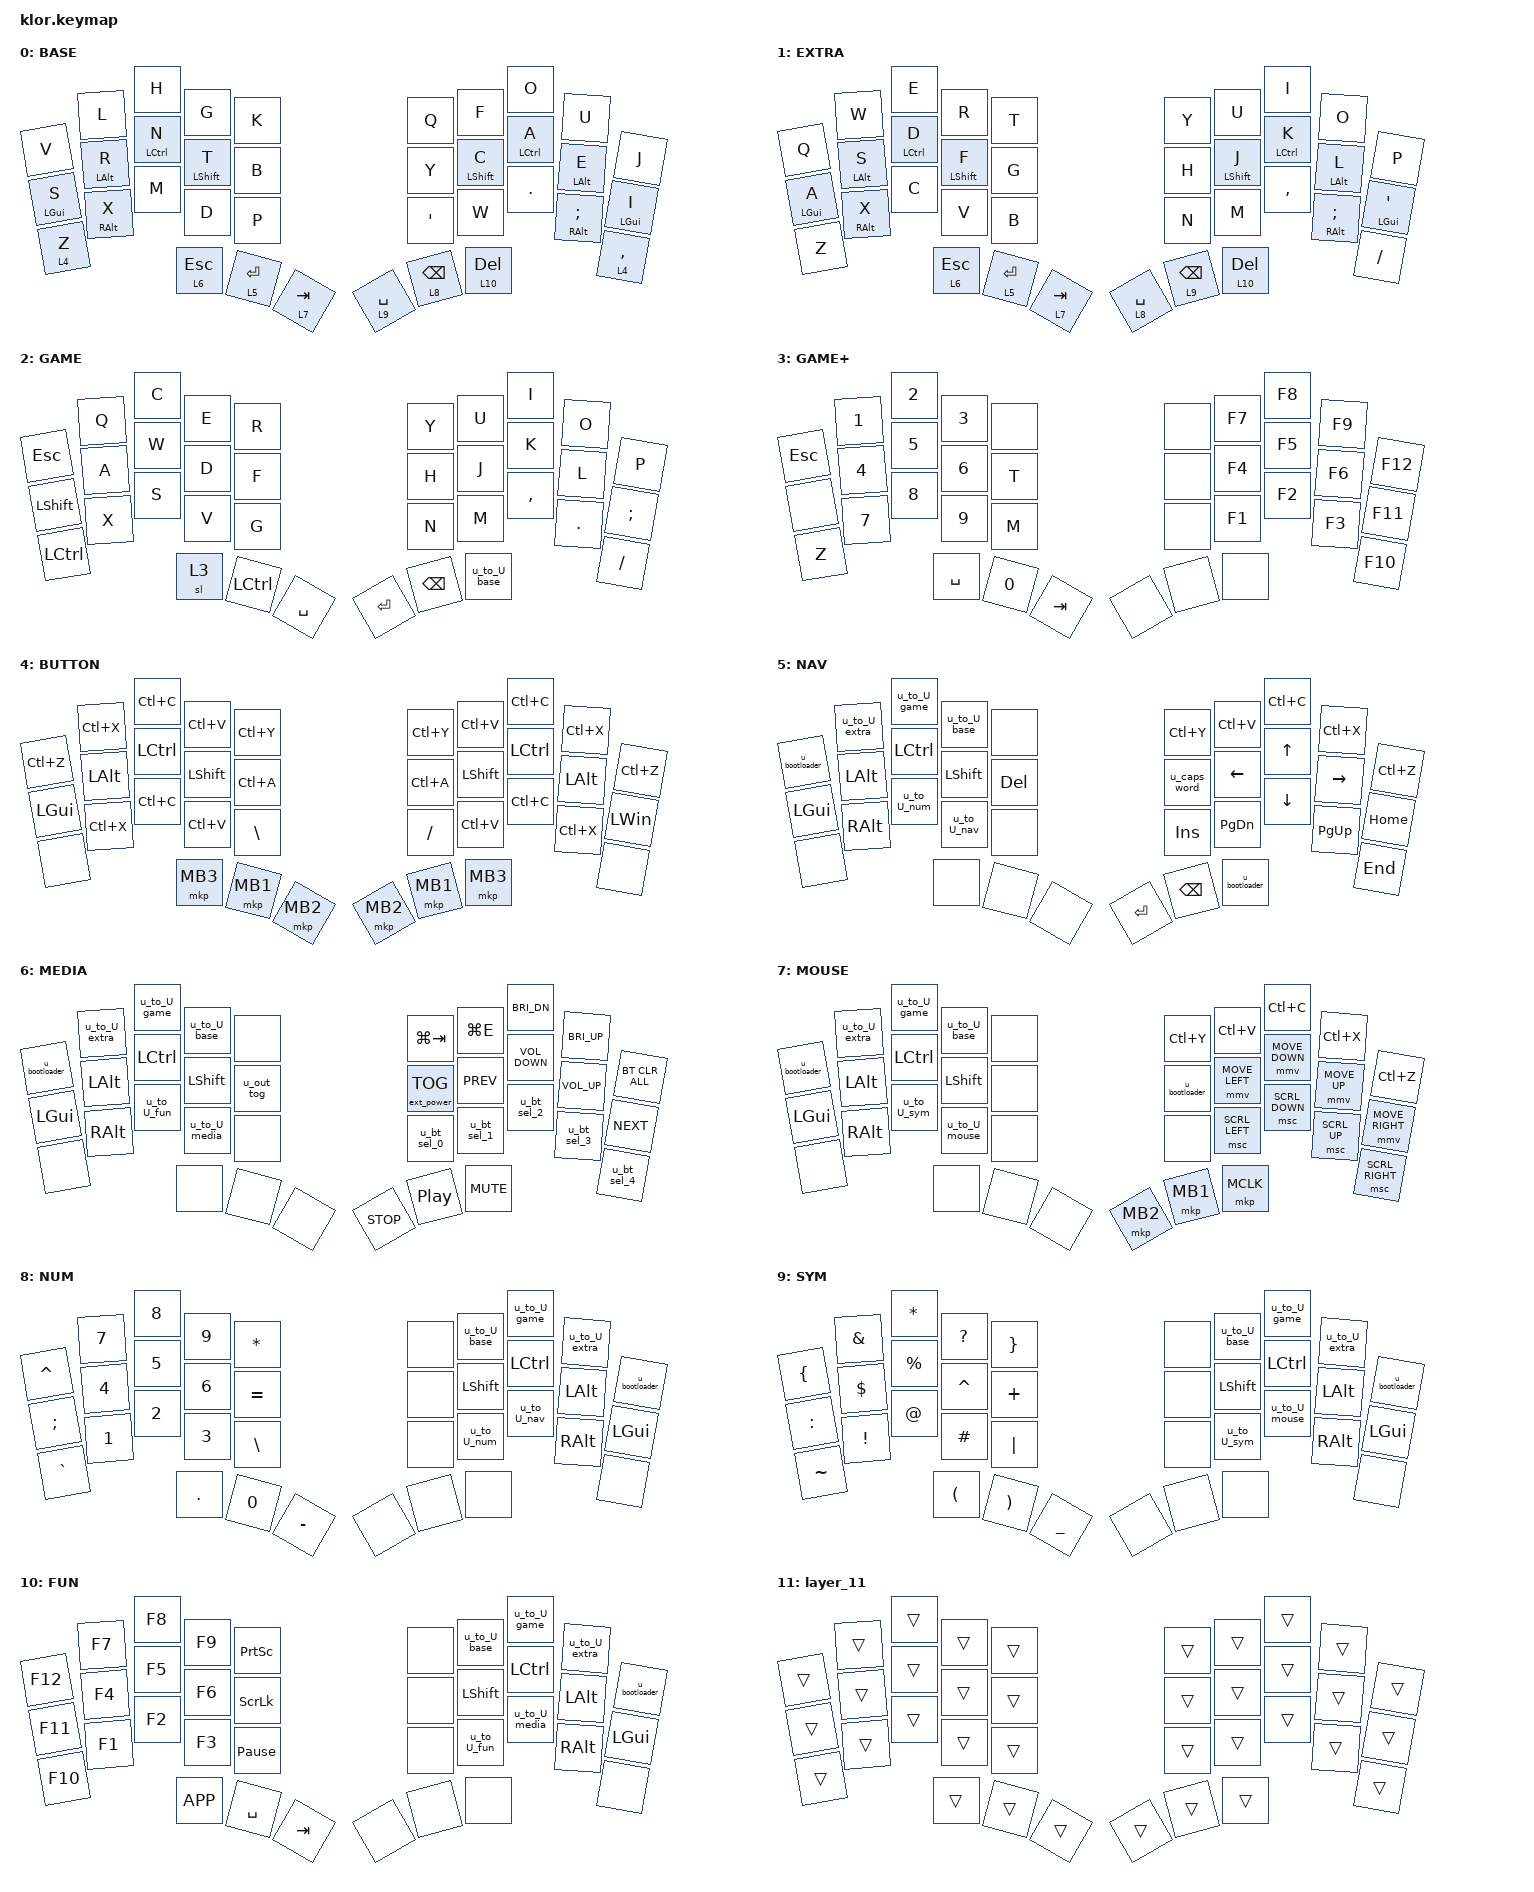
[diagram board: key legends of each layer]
//                               █         █    █            ▄▄▄▀▀▀▀▀▀▄▄▄        █▀▀▀▀▀▀▀▀▀▀█
//                               █        █     █          ▄▀            ▀▄      █          █
//                               █       █      █        ▄▀                ▀▄    █          █
//                               █      █       █        █                  █    █          █
//                               █     █        █       █                    █   █          █
//                               █    █         █       █                    █   █▄▄▄▄▄▄▄▄▄▄█
//                               █   █ █        █       █                    █   █      █
//                               █  █   █       █        █                  █    █       █
//                               █ █     █      █        ▀▄                ▄▀    █        █
//                               ██       █     █          ▀▄            ▄▀      █         █
//                               █         █    █▄▄▄▄▄▄▄▄    ▀▀▀▄▄▄▄▄▄▀▀▀        █          █
//
// ▄▄▄▄▄▄▄▄▄▄▄▄▄▄▄▄▄▄▄▄▄▄▄▄▄▄▄▄▄▄▄▄▄▄▄▄▄▄▄▄▄▄▄▄▄▄▄▄▄▄▄▄▄▄▄▄▄▄▄▄▄▄▄▄▄▄▄▄▄▄▄▄▄▄▄▄▄▄▄▄▄▄▄▄▄▄▄▄▄▄▄▄▄▄▄▄▄▄▄▄▄▄▄▄▄▄▄▄▄▄▄▄▄▄▄▄▄▄▄▄▄▄▄▄▄

#include <behaviors.dtsi>
#include <dt-bindings/zmk/bt.h>
#include <dt-bindings/zmk/ext_power.h>
#include <dt-bindings/zmk/keys.h>
#include <dt-bindings/zmk/outputs.h>
#include <dt-bindings/zmk/pointing.h>

&mmv {
    delay-ms = <0>;
    time-to-max-speed-ms = <1500>;
    acceleration-exponent = <1>;
};

/ {
    behaviors {
        u_to_U_base: u_to_U_base {
            compatible = "zmk,behavior-tap-dance";
            label = "U_TO_U_BASE";
            #binding-cells = <0>;
            bindings = <&none>, <&to 0>;
        };

        u_to_U_game: u_to_U_game {
            compatible = "zmk,behavior-tap-dance";
            label = "U_TO_U_GAME";
            #binding-cells = <0>;
            bindings = <&none>, <&to 2>;
        };

        u_to_U_nav: u_to_U_nav {
            compatible = "zmk,behavior-tap-dance";
            label = "U_TO_U_NAV";
            #binding-cells = <0>;
            bindings = <&none>, <&to 5>;
        };

        u_to_U_num: u_to_U_num {
            compatible = "zmk,behavior-tap-dance";
            label = "U_TO_U_NUM";
            #binding-cells = <0>;
            bindings = <&none>, <&to 8>;
        };

        u_to_U_media: u_to_U_media {
            compatible = "zmk,behavior-tap-dance";
            label = "U_TO_U_MEDIA";
            #binding-cells = <0>;
            bindings = <&none>, <&to 6>;
        };

        u_to_U_fun: u_to_U_fun {
            compatible = "zmk,behavior-tap-dance";
            label = "U_TO_U_FUN";
            #binding-cells = <0>;
            bindings = <&none>, <&to 10>;
        };

        u_to_U_mouse: u_to_U_mouse {
            compatible = "zmk,behavior-tap-dance";
            label = "U_TO_U_MOUSE";
            #binding-cells = <0>;
            bindings = <&none>, <&to 7>;
        };

        u_to_U_sym: u_to_U_sym {
            compatible = "zmk,behavior-tap-dance";
            label = "U_TO_U_SYM";
            #binding-cells = <0>;
            bindings = <&none>, <&to 9>;
        };

        u_bootloader: u_bootloader {
            compatible = "zmk,behavior-tap-dance";
            label = "U_BOOTLOADER";
            #binding-cells = <0>;
            bindings = <&none>, <&bootloader>;
        };

        u_bt_sel_0: u_bt_sel_0 {
            compatible = "zmk,behavior-mod-morph";
            label = "U_BT_SEL_0";
            bindings = <&bt BT_SEL 0>, <&u_macro_u_bt_sel_0>;

            #binding-cells = <0>;
            mods = <(MOD_LSFT|MOD_RSFT)>;
        };

        u_bt_sel_1: u_bt_sel_1 {
            compatible = "zmk,behavior-mod-morph";
            label = "U_BT_SEL_1";
            bindings = <&bt BT_SEL 1>, <&u_macro_u_bt_sel_1>;

            #binding-cells = <0>;
            mods = <(MOD_LSFT|MOD_RSFT)>;
        };

        u_bt_sel_2: u_bt_sel_2 {
            compatible = "zmk,behavior-mod-morph";
            label = "U_BT_SEL_2";
            bindings = <&bt BT_SEL 2>, <&u_macro_u_bt_sel_2>;

            #binding-cells = <0>;
            mods = <(MOD_LSFT|MOD_RSFT)>;
        };

        u_bt_sel_3: u_bt_sel_3 {
            compatible = "zmk,behavior-mod-morph";
            label = "U_BT_SEL_3";
            bindings = <&bt BT_SEL 3>, <&u_macro_u_bt_sel_3>;

            #binding-cells = <0>;
            mods = <(MOD_LSFT|MOD_RSFT)>;
        };

        u_bt_sel_4: u_bt_sel_4 {
            compatible = "zmk,behavior-mod-morph";
            label = "U_BT_SEL_4";
            bindings = <&bt BT_SEL 4>, <&u_macro_u_bt_sel_4>;

            #binding-cells = <0>;
            mods = <(MOD_LSFT|MOD_RSFT)>;
        };

        u_out_tog: u_out_tog {
            compatible = "zmk,behavior-mod-morph";
            label = "U_OUT_TOG";
            bindings = <&out OUT_TOG>, <&out OUT_USB>;

            #binding-cells = <0>;
            mods = <(MOD_LSFT|MOD_RSFT)>;
        };

        u_caps_word: u_caps_word {
            compatible = "zmk,behavior-mod-morph";
            label = "U_CAPS_WORD";
            bindings = <&caps_word>, <&kp CAPS>;

            #binding-cells = <0>;
            mods = <(MOD_LSFT|MOD_RSFT)>;
        };

        u_to_U_extra: u_to_U_extra {
            compatible = "zmk,behavior-tap-dance";
            label = "U_TO_U_EXTRA";
            #binding-cells = <0>;
            bindings = <&none>, <&to 1>;
        };

        home_row_mod_left: home_row_mod_left {
            compatible = "zmk,behavior-hold-tap";
            label = "HOME_ROW_MOD_LEFT";
            bindings = <&kp>, <&kp>;

            #binding-cells = <2>;
            flavor = "balanced";
            require-prior-idle-ms = <150>;
            quick-tap-ms = <175>;
            tapping-term-ms = <280>;
            hold-trigger-on-release;
            hold-trigger-key-positions = <5 6 7 8 9 15 16 17 18 19 25 26 27 28 29>;
        };

        home_row_mod_right: home_row_mod_right {
            compatible = "zmk,behavior-hold-tap";
            label = "HOME_ROW_MOD_RIGHT";
            bindings = <&kp>, <&kp>;

            #binding-cells = <2>;
            tapping-term-ms = <280>;
            quick-tap-ms = <175>;
            require-prior-idle-ms = <150>;
            flavor = "balanced";
            hold-trigger-key-positions = <0 1 2 3 4 10 11 12 13 14 20 21 22 23 24>;
            hold-trigger-on-release;
        };

        u_to_U_button: u_to_U_button {
            compatible = "zmk,behavior-tap-dance";
            label = "U_TO_U_BUTTON";
            #binding-cells = <0>;
            bindings = <&none>, <&to 4>;
        };

        auto_shift: auto_shift {
            compatible = "zmk,behavior-hold-tap";
            label = "AUTO_SHIFT";
            bindings = <&kp>, <&kp>;

            #binding-cells = <2>;
            tapping-term-ms = <135>;
            quick-tap-ms = <0>;
            flavor = "tap-preferred";
        };

        game_fkey1: game_fkey1 {
            compatible = "zmk,behavior-mod-morph";
            label = "GAME_FKEY1";
            bindings = <&kp NUMBER_1>, <&kp F1>;

            #binding-cells = <0>;
            mods = <(MOD_RALT)>;
        };

        game_fkey2: game_fkey2 {
            compatible = "zmk,behavior-mod-morph";
            label = "GAME_FKEY2";
            bindings = <&kp NUMBER_2>, <&kp F2>;

            #binding-cells = <0>;
            mods = <(MOD_RALT)>;
        };

        game_fkey3: game_fkey3 {
            compatible = "zmk,behavior-mod-morph";
            label = "GAME_FKEY3";
            bindings = <&kp NUMBER_3>, <&kp F3>;

            #binding-cells = <0>;
            mods = <(MOD_RALT)>;
        };

        game_fkey4: game_fkey4 {
            compatible = "zmk,behavior-mod-morph";
            label = "GAME_FKEY4";
            bindings = <&kp NUMBER_4>, <&kp F4>;

            #binding-cells = <0>;
            mods = <(MOD_RALT)>;
        };

        game_fkey5: game_fkey5 {
            compatible = "zmk,behavior-mod-morph";
            label = "GAME_FKEY5";
            bindings = <&kp NUMBER_5>, <&kp F5>;

            #binding-cells = <0>;
            mods = <(MOD_RALT)>;
        };

        game_fkey6: game_fkey6 {
            compatible = "zmk,behavior-mod-morph";
            label = "GAME_FKEY6";
            bindings = <&kp NUMBER_6>, <&kp F6>;

            #binding-cells = <0>;
            mods = <(MOD_RALT)>;
        };

        game_fkey7: game_fkey7 {
            compatible = "zmk,behavior-mod-morph";
            label = "GAME_FKEY7";
            bindings = <&kp NUMBER_7>, <&kp F7>;

            #binding-cells = <0>;
            mods = <(MOD_RALT)>;
        };

        game_fkey8: game_fkey8 {
            compatible = "zmk,behavior-mod-morph";
            label = "GAME_FKEY8";
            bindings = <&kp NUMBER_8>, <&kp F8>;

            #binding-cells = <0>;
            mods = <(MOD_RALT)>;
        };

        game_fkey9: game_fkey9 {
            compatible = "zmk,behavior-mod-morph";
            label = "GAME_FKEY9";
            bindings = <&kp NUMBER_9>, <&kp F9>;

            #binding-cells = <0>;
            mods = <(MOD_RALT)>;
        };

        game_fkey10: game_fkey10 {
            compatible = "zmk,behavior-mod-morph";
            label = "GAME_FKEY10";
            bindings = <&kp NUMBER_0>, <&kp F10>;

            #binding-cells = <0>;
            mods = <(MOD_RALT)>;
        };

        game_fkey11: game_fkey11 {
            compatible = "zmk,behavior-mod-morph";
            label = "GAME_FKEY11";
            bindings = <&kp ESCAPE>, <&kp F11>;

            #binding-cells = <0>;
            mods = <(MOD_RALT)>;
        };

        game_fkey12: game_fkey12 {
            compatible = "zmk,behavior-mod-morph";
            label = "GAME_FKEY12";
            bindings = <&kp GRAVE>, <&kp F12>;

            #binding-cells = <0>;
            mods = <(MOD_RALT)>;
        };
    };

    combos {
        compatible = "zmk,combos";

        DUALLOCK {
            bindings = <&kp CAPS>;
            key-positions = <13 16>;
            layers = <0>;
        };
    };

    macros {
        u_macro_u_bt_sel_0: u_macro_u_bt_sel_0 {
            compatible = "zmk,behavior-macro";
            #binding-cells = <0>;
            bindings = <&bt BT_SEL 0 &bt BT_CLR>;
            label = "U_MACRO_U_BT_SEL_0";
        };

        u_macro_u_bt_sel_1: u_macro_u_bt_sel_1 {
            compatible = "zmk,behavior-macro";
            #binding-cells = <0>;
            bindings = <&bt BT_SEL 1 &bt BT_CLR>;
            label = "U_MACRO_U_BT_SEL_1";
        };

        u_macro_u_bt_sel_2: u_macro_u_bt_sel_2 {
            compatible = "zmk,behavior-macro";
            #binding-cells = <0>;
            bindings = <&bt BT_SEL 2 &bt BT_CLR>;
            label = "U_MACRO_U_BT_SEL_2";
        };

        u_macro_u_bt_sel_3: u_macro_u_bt_sel_3 {
            compatible = "zmk,behavior-macro";
            #binding-cells = <0>;
            bindings = <&bt BT_SEL 3 &bt BT_CLR>;
            label = "U_MACRO_U_BT_SEL_3";
        };

        u_macro_u_bt_sel_4: u_macro_u_bt_sel_4 {
            compatible = "zmk,behavior-macro";
            #binding-cells = <0>;
            bindings = <&bt BT_SEL 4 &bt BT_CLR>;
            label = "U_MACRO_U_BT_SEL_4";
        };
    };

    keymap {
        compatible = "zmk,keymap";

        // ▄▄▄▄▄▄▄▄▄▄▄▄▄▄▄▄▄▄▄▄▄▄▄▄▄▄▄▄▄▄▄▄▄▄▄▄▄▄▄▄▄▄▄▄▄▄▄▄▄▄▄▄▄▄▄▄▄▄▄▄▄▄▄▄▄▄▄▄▄▄▄▄▄▄▄▄▄▄▄▄▄▄▄▄▄▄▄▄▄▄▄▄▄▄▄▄▄▄▄▄▄▄▄▄▄▄▄▄▄▄▄▄▄▄▄▄▄▄▄▄▄▄▄▄▄▄▄▄▄▄▄▄▄▄▄▄▄▄▄▄▄▄

        BASE {
            // ┌─────────────────────────────────────────────────┐

            label = "BASE";

            // └─────────────────────────────────────────────────┘
            /* ┌─────────┬─────────┬─────────┬─────────┬─────────┐┌─────────┬─────────┬─────────┬─────────┬─────────┐
   │    Q    │    W    │    F    │    P    │    G    ││    J    │    L    │    U    │    Y    │    ;    │   
   ├─────────┼─────────┼─────────┼─────────┼─────────┤├─────────┼─────────┼─────────┼─────────┼─────────┐
   │    A    │    R    │    S    │    T    │    D    ││    H    │    N    │    E    │    I    │    O    │
   ├─────────┼─────────┼─────────┼─────────┼─────────┤├─────────┼─────────┼─────────┼─────────┼─────────┤
   │    Z    │    X    │    C    │    V    │    B    ││    K    │    M    │    ,    │    .    │    /    │
   └─────────┴─────────┼─────────┼─────────┼─────────┼┼─────────┼─────────┼─────────┼─────────┴─────────┘
                       │  CTRL   │  LOWER  │  SPACE  ││  ENTER  │  RAISE  │  BSPCE  │  
                       └─────────┴─────────┴─────────┘└─────────┴─────────┴─────────┘ */

            bindings = <
&kp V                          &kp L                      &kp H                       &kp G                       &kp K            &kp Q       &kp F                        &kp O                        &kp U                          &kp J
&home_row_mod_left LEFT_GUI S  &home_row_mod_left LALT R  &home_row_mod_left LCTRL N  &home_row_mod_left LSHFT T  &kp B            &kp Y       &home_row_mod_right LSHFT C  &home_row_mod_right LCTRL A  &home_row_mod_right LALT E     &home_row_mod_right LEFT_GUI I
&lt 4 Z                        &home_row_mod_left RALT X  &kp M                       &kp D                       &kp P            &kp SQT     &kp W                        &kp DOT                      &home_row_mod_right RALT SEMI  &lt 4 COMMA
&lt 6 ESC                      &lt 5 RET                  &lt 7 TAB                   &lt 9 SPACE                 &lt 8 BACKSPACE  &lt 10 DEL
            >;
        };

        EXTRA {
            label = "EXTRA";
            bindings = <
&kp Q                          &kp W                      &kp E                       &kp R                       &kp T            &kp Y       &kp U                        &kp I                        &kp O                          &kp P
&home_row_mod_left LEFT_GUI A  &home_row_mod_left LALT S  &home_row_mod_left LCTRL D  &home_row_mod_left LSHFT F  &kp G            &kp H       &home_row_mod_right LSHFT J  &home_row_mod_right LCTRL K  &home_row_mod_right LALT L     &home_row_mod_right LEFT_GUI SQT
&kp Z                          &home_row_mod_left RALT X  &kp C                       &kp V                       &kp B            &kp N       &kp M                        &kp COMMA                    &home_row_mod_right RALT SEMI  &kp FSLH
&lt 6 ESC                      &lt 5 RET                  &lt 7 TAB                   &lt 8 SPACE                 &lt 9 BACKSPACE  &lt 10 DEL
            >;
        };

        GAME {
            label = "GAME";
            bindings = <
&kp ESC    &kp Q      &kp C      &kp E      &kp R     &kp Y         &kp U  &kp I      &kp O    &kp P
&kp LSHFT  &kp A      &kp W      &kp D      &kp F     &kp H         &kp J  &kp K      &kp L    &kp SEMI
&kp LCTRL  &kp X      &kp S      &kp V      &kp G     &kp N         &kp M  &kp COMMA  &kp DOT  &kp FSLH
&sl 3      &kp LCTRL  &kp SPACE  &kp ENTER  &kp BSPC  &u_to_U_base
            >;
        };

        GAME+ {
            label = "GAME+";
            bindings = <
&kp ESC    &kp N1  &kp N2   &kp N3  &none  &none  &kp F7  &kp F8  &kp F9  &kp F12
&none      &kp N4  &kp N5   &kp N6  &kp T  &none  &kp F4  &kp F5  &kp F6  &kp F11
&kp Z      &kp N7  &kp N8   &kp N9  &kp M  &none  &kp F1  &kp F2  &kp F3  &kp F10
&kp SPACE  &kp N0  &kp TAB  &none   &none  &none
            >;
        };

        BUTTON {
            label = "BUTTON";
            bindings = <
&kp LC(Z)     &kp LC(X)     &kp LC(C)  &kp LC(V)   &kp LC(Y)  &kp LC(Y)  &kp LC(V)  &kp LC(C)  &kp LC(X)     &kp LC(Z)
&kp LEFT_GUI  &kp LEFT_ALT  &kp LCTRL  &kp LSHIFT  &kp LC(A)  &kp LC(A)  &kp LSHFT  &kp LCTRL  &kp LEFT_ALT  &kp LEFT_WIN
&none         &kp LC(X)     &kp LC(C)  &kp LC(V)   &kp BSLH   &kp FSLH   &kp LC(V)  &kp LC(C)  &kp LC(X)     &none
&mkp MB3      &mkp MB1      &mkp MB2   &mkp MB2    &mkp MB1   &mkp MB3
            >;
        };

        NAV {
            label = "NAV";
            bindings = <
&u_bootloader  &u_to_U_extra  &u_to_U_game  &u_to_U_base  &none          &kp LC(Y)      &kp LC(V)       &kp LC(C)       &kp LC(X)        &kp LC(Z)
&kp LEFT_GUI   &kp LALT       &kp LCTRL     &kp LSHFT     &kp DELETE     &u_caps_word   &kp LEFT_ARROW  &kp UP_ARROW    &kp RIGHT_ARROW  &kp HOME
&none          &kp RALT       &u_to_U_num   &u_to_U_nav   &none          &kp INS        &kp PAGE_DOWN   &kp DOWN_ARROW  &kp PAGE_UP      &kp END
&none          &none          &none         &kp RET       &kp BACKSPACE  &u_bootloader
            >;
        };

        MEDIA {
            label = "MEDIA";
            bindings = <
&u_bootloader  &u_to_U_extra  &u_to_U_game  &u_to_U_base   &none       &kp LG(TAB)        &kp LG(E)    &kp C_BRI_DN       &kp C_BRI_UP     &bt BT_CLR_ALL
&kp LGUI       &kp LALT       &kp LCTRL     &kp LSHFT      &u_out_tog  &ext_power EP_TOG  &kp C_PREV   &kp C_VOLUME_DOWN  &kp C_VOLUME_UP  &kp C_NEXT
&none          &kp RALT       &u_to_U_fun   &u_to_U_media  &none       &u_bt_sel_0        &u_bt_sel_1  &u_bt_sel_2        &u_bt_sel_3      &u_bt_sel_4
&none          &none          &none         &kp C_STOP     &kp C_PP    &kp C_MUTE
            >;
        };

        MOUSE {
            label = "MOUSE";
            bindings = <
&u_bootloader  &u_to_U_extra  &u_to_U_game  &u_to_U_base   &none     &kp LC(Y)      &kp LC(V)       &kp LC(C)       &kp LC(X)     &kp LC(Z)
&kp LGUI       &kp LALT       &kp LCTRL     &kp LSHFT      &none     &u_bootloader  &mmv MOVE_LEFT  &mmv MOVE_DOWN  &mmv MOVE_UP  &mmv MOVE_RIGHT
&none          &kp RALT       &u_to_U_sym   &u_to_U_mouse  &none     &none          &msc SCRL_LEFT  &msc SCRL_DOWN  &msc SCRL_UP  &msc SCRL_RIGHT
&none          &none          &none         &mkp MB2       &mkp MB1  &mkp MCLK
            >;
        };

        NUM {
            label = "NUM";
            bindings = <
&kp CARET   &kp N7  &kp N8     &kp N9  &kp ASTERISK  &none  &u_to_U_base  &u_to_U_game  &u_to_U_extra  &u_bootloader
&kp SEMI    &kp N4  &kp N5     &kp N6  &kp EQUAL     &none  &kp LSHFT     &kp LCTRL     &kp LALT       &kp LGUI
&kp GRAVE   &kp N1  &kp N2     &kp N3  &kp BSLH      &none  &u_to_U_num   &u_to_U_nav   &kp RALT       &none
&kp PERIOD  &kp N0  &kp MINUS  &none   &none         &none
            >;
        };

        SYM {
            label = "SYM";
            bindings = <
&kp LEFT_BRACE        &kp AMPS               &kp ASTRK    &kp QMARK  &kp RIGHT_BRACE  &none  &u_to_U_base    &u_to_U_game   &u_to_U_extra  &u_bootloader
&kp COLON             &kp DOLLAR             &kp PERCENT  &kp CARET  &kp PLUS         &none  &kp LEFT_SHIFT  &kp LCTRL      &kp LEFT_ALT   &kp LEFT_GUI
&kp TILDE             &kp EXCLAMATION        &kp AT_SIGN  &kp HASH   &kp PIPE         &none  &u_to_U_sym     &u_to_U_mouse  &kp RALT       &none
&kp LEFT_PARENTHESIS  &kp RIGHT_PARENTHESIS  &kp UNDER    &none      &none            &none
            >;
        };

        FUN {
            label = "FUN";
            bindings = <
&kp F12    &kp F7     &kp F8   &kp F9  &kp PRINTSCREEN  &none  &u_to_U_base    &u_to_U_game   &u_to_U_extra  &u_bootloader
&kp F11    &kp F4     &kp F5   &kp F6  &kp SCROLLLOCK   &none  &kp LEFT_SHIFT  &kp LCTRL      &kp LEFT_ALT   &kp LEFT_GUI
&kp F10    &kp F1     &kp F2   &kp F3  &kp PAUSE_BREAK  &none  &u_to_U_fun     &u_to_U_media  &kp RALT       &none
&kp K_APP  &kp SPACE  &kp TAB  &none   &none            &none
            >;
        };

        layer_11 {
            bindings = <
&trans  &trans  &trans  &trans  &trans  &trans  &trans  &trans  &trans  &trans
&trans  &trans  &trans  &trans  &trans  &trans  &trans  &trans  &trans  &trans
&trans  &trans  &trans  &trans  &trans  &trans  &trans  &trans  &trans  &trans
&trans  &trans  &trans  &trans  &trans  &trans
            >;
        };
    };
};
